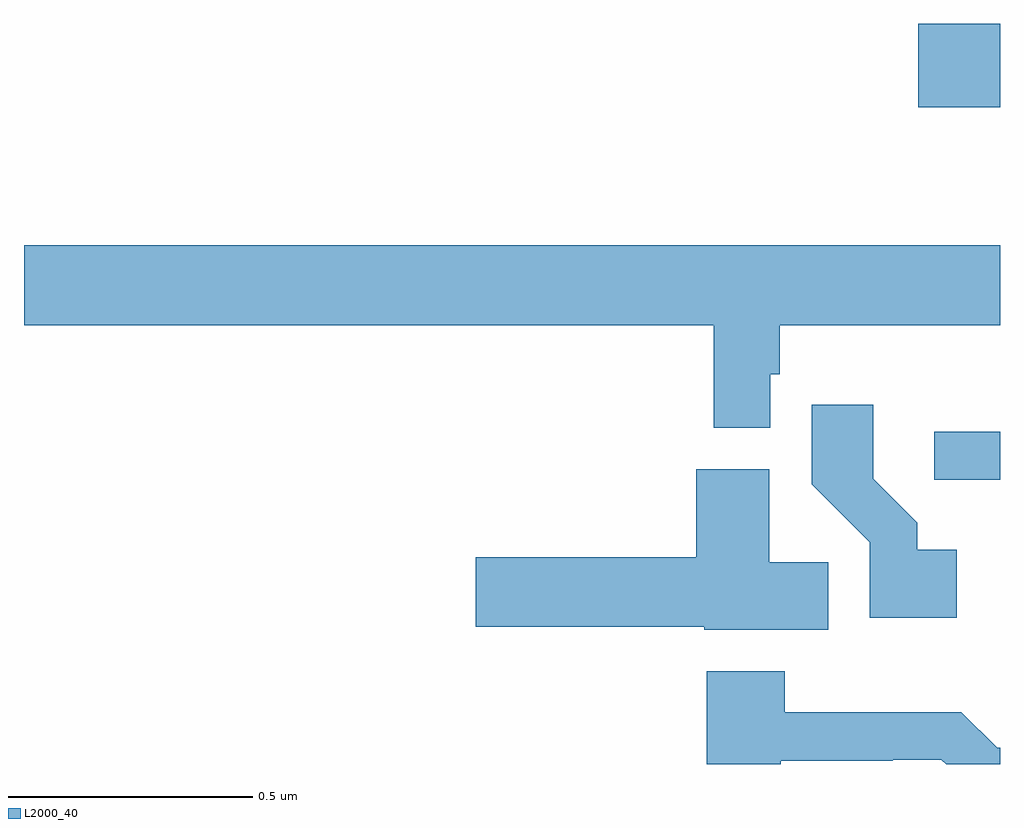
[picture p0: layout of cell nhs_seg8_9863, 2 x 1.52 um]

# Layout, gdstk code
import gdstk
lib = gdstk.Library(unit=1e-6, precision=1e-09)
def R(c, l, rs):  # rectangles x0, y0, x1, y1
    for r in rs: c.add(gdstk.rectangle(r[:2], r[2:], *l))
def P(c, l, *ps):  # polygons
    for p in ps: c.add(gdstk.Polygon(p, *l))
L2000_40 = (2000, 40)

nhs_seg8_9863 = lib.new_cell('nhs_seg8_9863')
R(nhs_seg8_9863, L2000_40, [(242.865,1149.483,243,1149.582), (242.832,1150.247,243,1150.418)])
P(nhs_seg8_9863, L2000_40, [(242.529,1149.699),(242.549,1149.699),(242.549,1149.8),(243,1149.8),(243,1149.964),(241,1149.964),(241,1149.8),(242.413,1149.8),(242.413,1149.59),(242.529,1149.59)],
  [(242.911,1149.34),(242.83,1149.34),(242.83,1149.395),(242.74,1149.485),(242.74,1149.637),(242.614,1149.637),(242.614,1149.474),(242.733,1149.355),(242.733,1149.2),(242.911,1149.2)],
  [(242.648,1149.314),(242.527,1149.314),(242.527,1149.505),(242.378,1149.505),(242.378,1149.324),(241.926,1149.324),(241.926,1149.182),(242.394,1149.182),(242.394,1149.176),(242.648,1149.176)],
  [(242.551,1148.907),(242.78,1148.907),(242.78,1148.91),(242.88,1148.91),(242.89,1148.9),(243,1148.9),(243,1148.934),(242.994,1148.934),(242.921,1149.007),(242.559,1149.007),(242.559,1149.091),(242.399,1149.091),(242.399,1148.9),(242.551,1148.9)])

lib.write_gds('nhs_seg8_9863.gds')
